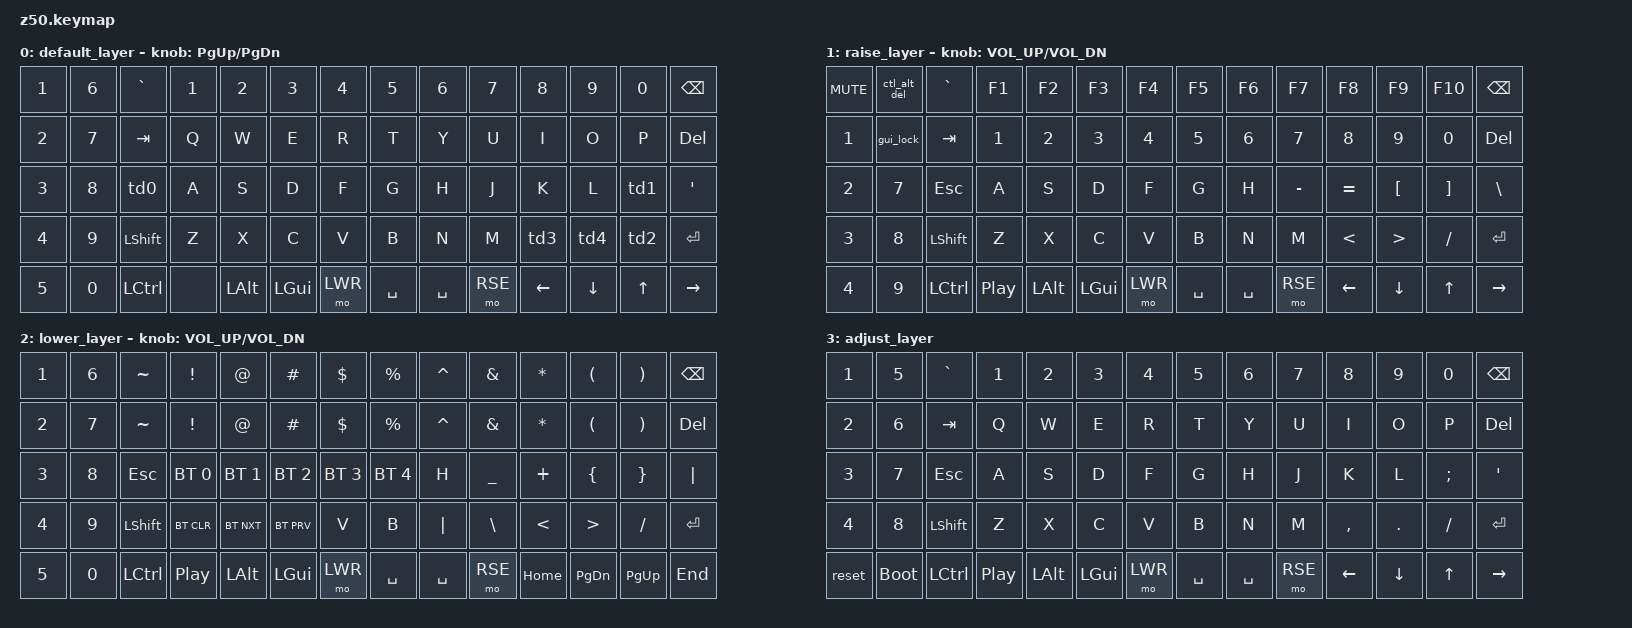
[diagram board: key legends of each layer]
/*
 * This is free and unencumbered software released into the public domain.
 *
 * Anyone is free to copy, modify, publish, use, compile, sell, or
 * distribute this software, either in source code form or as a compiled
 * binary, for any purpose, commercial or non-commercial, and by any
 * means.
 *
 * In jurisdictions that recognize copyright laws, the author or authors
 * of this software dedicate any and all copyright interest in the
 * software to the public domain. We make this dedication for the benefit
 * of the public at large and to the detriment of our heirs and
 * successors. We intend this dedication to be an overt act of
 * relinquishment in perpetuity of all present and future rights to this
 * software under copyright law.

 * THE SOFTWARE IS PROVIDED "AS IS", WITHOUT WARRANTY OF ANY KIND,
 * EXPRESS OR IMPLIED, INCLUDING BUT NOT LIMITED TO THE WARRANTIES OF
 * MERCHANTABILITY, FITNESS FOR A PARTICULAR PURPOSE AND NONINFRINGEMENT.
 * IN NO EVENT SHALL THE AUTHORS BE LIABLE FOR ANY CLAIM, DAMAGES OR
 * OTHER LIABILITY, WHETHER IN AN ACTION OF CONTRACT, TORT OR OTHERWISE,
 * ARISING FROM, OUT OF OR IN CONNECTION WITH THE SOFTWARE OR THE USE OR
 * OTHER DEALINGS IN THE SOFTWARE.
 * 
 * For more information, please refer to <http://unlicense.org/>
 *
 * Author: zedd (2022)
 */

#include <behaviors.dtsi>
#include <dt-bindings/zmk/keys.h>
#include <dt-bindings/zmk/bt.h>

#define DEFAULT 0
#define RSE 1
#define LWR 2
#define ADJ 3

/ {

    /* Conditional Layer (Ajust Layer) */ 
    conditional_layers {
        compatible = "zmk,conditional-layers";
        tri_layer {
            if-layers = <RSE LWR>;
            then-layer = <ADJ>;
        };
    };

    /* Tap-dance */
    behaviors {
        /*
         * Single tap: Escape
         * Double tap: Capslock
         */
        td0: tap_dance_cp_esc {
            compatible = "zmk,behavior-tap-dance";
            label = "ESC_CAPS";
            #binding-cells = <0>;
            tapping-term-ms = <200>;
            bindings = <&kp ESCAPE>, <&kp CAPSLOCK>;
        };
        /*
         * Single tap: Colon (:)
         * Double tap: Semicolon (;)
         */
        td1: tap_dance_col_scol {
            compatible = "zmk,behavior-tap-dance";
            label = "COLON_SEMICOLON";
            #binding-cells = <0>;
            tapping-term-ms = <200>;
            bindings = <&kp SEMICOLON>, <&kp COLON>;
        };

        /*
         * Single tap: Forward Slash (/)
         * Double tap: Question Mark (?)
         */
        td2: tap_dance_fslh_que {
            compatible = "zmk,behavior-tap-dance";
            label = "FSLASH_QUESTION";
            #binding-cells = <0>;
            tapping-term-ms = <200>;
            bindings = <&kp FSLH>, <&kp QMARK>;
        };

        /*
         * Single tap: comma (,)
         * Double tap: less than (<)
         */
        td3: tap_dance_com_lt {
            compatible = "zmk,behavior-tap-dance";
            label = "COMMA_LESSTHAN";
            #binding-cells = <0>;
            tapping-term-ms = <200>;
            bindings = <&kp COMMA>, <&kp LESS_THAN>;
        };
        
        /*
         * Single tap: dot (.)
         * Double tap: greater than (>)
         */
        td4: tap_dance_dot_gt {
            compatible = "zmk,behavior-tap-dance";
            label = "DOT_GREATERTHAN";
            #binding-cells = <0>;
            tapping-term-ms = <200>;
            bindings = <&kp DOT>, <&kp GREATER_THAN>;
        };
    };
    
    /* Macros */
    macros {
        
        /* Automate Windows login (CTRL+ALT+DEL) */
        ctl_alt_del: ctl_alt_del {
            label = "ZM_ctl_alt_del";
            compatible = "zmk,behavior-macro";
            #binding-cells = <0>;
            bindings = <&macro_press &kp LCTRL &kp LALT &kp DELETE>,
                <&macro_release &kp LCTRL &kp LALT &kp DELETE>;
        };

        /* Automate Windows Lock (Windows Key + L) */
        gui_lock: gui_lock {
            label = "ZM_gui_lock";
            compatible = "zmk,behavior-macro";
            #binding-cells = <0>;
            bindings = <&macro_press &kp LGUI>,
                <&macro_tap &kp L>,
                <&macro_release &kp LGUI>;
        };
    };

    /* Keymaps */
    keymap {
        compatible = "zmk,keymap";
        
        /* Default Layer */
        default_layer {
        // +------------------------------------------------------------------------------------------------------------------------------------------------+
        // |                                                                                                                                                |
        // |                                                                                                                                                |
        // |    +-----------+----------+     +---------+-------+-------+-------+-------+-------+     +-------+-------+-------+-------+-------+---------+    |
        // |    |    ENC    |   MC 5   |     |    `    |   1   |   2   |   3   |   4   |   5   |     |   6   |   7   |   8   |   9   |   0   |  BKSPC  |    |   
        // |    +-----------+----------+     +---------+-------+-------+-------+-------+-------+     +-------+-------+-------+-------+-------+---------+    |
        // |    |    MC 1   |   MC 6   |     |   TAB   |   Q   |   W   |   E   |   R   |   T   |     |   Y   |   U   |   I   |   O   |   P   |   DEL   |    |
        // |    +-----------+----------+     +----------+-------+-------+-------+-------+------+     +-------+-------+-------+-------+-------+---------+    |
        // |    |    MC 2   |   MC 7   |     |   ESC   |   A   |   S   |   D   |   F   |   G   |     |   H   |   J   |   K   |   L   |   ;   |    '    |    |  
        // |    +-----------+----------+     +---------+-------+-------+-------+-------+-------+     +-------+-------+-------+-------+-------+---------+    |
        // |    |    MC 3   |   MC 8   |     |  SHIFT  |   Z   |   X   |   C   |   V   |   B   |     |   N   |   M   |   ,   |   .   |   /   |  RETURN |    |
        // |    +-----------+----------+     +---------+-------+-------+-------+-------+-------+     +-------+-------+-------+-------+-------+---------+    |
        // |    |    MC 4   |   MC 9   |     |   CTRL  |  FN   | LALT  |  GUI  |  LWR  | SPACE |     | SPACE |  RSE  | LEFT  | DOWN  |   UP  |  RIGHT  |    |
        // |    +-----------+----------+     +---------+-------+-------+-------+-------+-------+     +-------+-------+-------+-------+-------+---------+    |
        // |                                                                                                                                                |
        // +------------------------------------------------------------------------------------------------------------------------------------------------+
        
        bindings = <
                &kp N1   &kp N6   &kp GRAVE   &kp N1  &kp N2   &kp N3   &kp N4    &kp N5    &kp N6    &kp N7   &kp N8    &kp N9   &kp N0    &kp BACKSPACE 
                &kp N2   &kp N7   &kp TAB     &kp Q   &kp W    &kp E    &kp R     &kp T     &kp Y     &kp U    &kp I     &kp O    &kp P     &kp DELETE
                &kp N3   &kp N8   &td0  &kp A   &kp S    &kp D    &kp F     &kp G     &kp H     &kp J    &kp K     &kp L    &td1  &kp SINGLE_QUOTE
                &kp N4   &kp N9   &kp LSHIFT  &kp Z   &kp X    &kp C    &kp V     &kp B     &kp N     &kp M    &td3 &td4  &td2  &kp RETURN
                &kp N5   &kp N0   &kp LCTRL   &none   &kp LALT &kp LGUI &mo LWR   &kp SPACE &kp SPACE &mo RSE  &kp LEFT  &kp DOWN &kp UP    &kp RIGHT
            >;
            sensor-bindings = <&inc_dec_kp PG_UP PG_DN>;
        };
        
        /* Raise (RSE) Layer*/
        raise_layer {

        /* ENC = C_MUTE
         * MC 5 = CTL+ALT+DEL -- login to windows 
         * MC 6 = LGUI+L -- lock windows desktop
         */

        // +-----------+----------+ +--------+-------+-------+-------+-------+-------+  +------+-------+---------+---------+--------+---------+
        // |    ENC    |   MC 5   | |   `    |   F1  |   F2  |   F3  |   F4  |   F5  |  |  F6  |   F7  |   F8    |   F9    |   F10  |  BKSPC  |   
        // +-----------+----------+ +--------+-------+-------+-------+-------+-------+  +------+-------+---------+---------+--------+---------+
        // |    MC 1   |   MC 6   | |  TAB   |   1   |   2   |   3   |   4   |   5   |  |  6   |   7   |   8     |   9     |    0   |   DEL   |
        // +-----------+----------+ +--------+-------+-------+-------+-------+-------+  +------+-------+---------+---------+--------+---------+
        // |    MC 2   |   MC 7   | |  ESC   |   A   |   S   |   D   |   F   |   G   |  |  H   |   -   |   =     |   [     |   ]    |    \    |       
        // +-----------+----------+ +--------+-------+-------+-------+-------+-------+  +------+-------+---------+---------+--------+---------+
        // |    MC 3   |   MC 8   | | SHIFT  |   Z   |   X   |   C   |   V   |   B   |  |  N   |   M   |   <     |   >     |   /    |  RETURN |   
        // +-----------+----------+ +--------+-------+-------+-------+-------+-------+  +------+-------+---------+---------+--------+---------+
        // |    MC 4   |   MC 9   | |  CTRL  |  FN   | LALT  |  GUI  |  LWR  | SPACE |  |SPACE |  RSE  | OUT_USB | OUT_BLE |  RALT  | OUT_TOG |    
        // +-----------+----------+ +--------+-------+-------+-------+-------+-------+  +------+-------+---------+---------+--------+---------+
            bindings = <
                &kp C_MUTE   &ctl_alt_del   &kp GRAVE   &kp F1  &kp F2   &kp F3   &kp F4    &kp F5    &kp F6    &kp F7   &kp F8    &kp F9   &kp F10    &kp BACKSPACE 
                &kp N1   &gui_lock   &kp TAB     &kp N1   &kp N2    &kp N3    &kp N4    &kp N5     &kp N6     &kp N7    &kp N8     &kp N9    &kp N0     &kp DELETE
                &kp N2   &kp N7   &kp ESCAPE  &kp A   &kp S    &kp D    &kp F     &kp G     &kp H     &kp MINUS    &kp EQUAL     &kp LBKT    &kp RBKT  &kp BSLH
                &kp N3   &kp N8   &kp LSHIFT  &kp Z   &kp X    &kp C    &kp V     &kp B     &kp N     &kp M    &kp LT &kp GT  &kp FSLH  &kp RETURN
                &kp N4   &kp N9   &kp LCTRL   &kp C_PP  &kp LALT &kp LGUI &mo LWR   &kp SPACE &kp SPACE &mo RSE  &kp LEFT  &kp DOWN &kp UP    &kp RIGHT
            >;
            sensor-bindings = <&inc_dec_kp C_VOL_UP C_VOL_DN>;
        };
        
        /* Lower (LWR) Layer*/
        lower_layer {

        // +-----------+----------+ +--------+--------+--------+--------+-------+-------+   +-------+-------+-------+-------+-------+---------+
        // |    ENC    |   MC 5   | |   ~    |    !   |   @    |    #   |   $   |   %   |   |   ^   |   &   |   *   |   (   |   )   |  BKSPC  |   
        // +-----------+----------+ +--------+--------+--------+--------+-------+-------+   +-------+-------+-------+-------+-------+---------+
        // |    MC 1   |   MC 6   | |  TAB   |    !   |   @    |    #   |   $   |   %   |   |   ^   |   &   |   *   |   (   |   )   |   DEL   |
        // +-----------+----------+ +--------+--------+--------+--------+-------+-------+   +-------+-------+-------+-------+-------+---------+
        // |    MC 2   |   MC 7   | |  ESC   |  BT 1  |  BT 2  |  BT 3  | BT 4  | BT 5  |   |   H   |   _   |   +   |   {   |   }   |    |    |       
        // +-----------+----------+ +--------+--------+--------+--------+-------+-------+   +-------+-------+-------+-------+-------+---------+
        // |    MC 3   |   MC 8   | | SHIFT  | BT_CLR | BT_NXT | BT_PRV |   V   |   B   |   |   |   |   \   |   <   |   >   |   /   |  RETURN |   
        // +-----------+----------+ +--------+--------+--------+--------+-------+-------+   +-------+-------+-------+-------+-------+---------+
        // |    MC 4   |   MC 9   | |  CTRL  |  FN    |  LALT  |  GUI   |  LWR  | SPACE |   | SPACE |  RSE  | HOME  | PGDWN | PGUP  |   END   |    
        // +-----------+----------+ +--------+--------+--------+--------+-------+-------+   +-------+-------+-------+-------+-------+---------+
            bindings = <
                &kp N1   &kp N6   &kp TILDE   &kp EXCL  &kp AT_SIGN   &kp HASH   &kp DOLLAR    &kp PERCENT    &kp CARET    &kp AMPS   &kp ASTRK    &kp LPAR   &kp RPAR    &kp BACKSPACE 
                &kp N2   &kp N7   &kp TILDE   &kp EXCL  &kp AT_SIGN   &kp HASH   &kp DOLLAR    &kp PERCENT    &kp CARET    &kp AMPS   &kp ASTRK    &kp LPAR   &kp RPAR    &kp DELETE 
                &kp N3   &kp N8   &kp ESCAPE  &bt BT_SEL 0 &bt BT_SEL 1  &bt BT_SEL 2  &bt BT_SEL 3  &bt BT_SEL 4  &kp H   &kp UNDER    &kp PLUS     &kp LBRC    &kp RBRC  &kp PIPE 
                &kp N4   &kp N9   &kp LSHIFT  &bt BT_CLR   &bt BT_NXT    &bt BT_PRV  &kp V  &kp B  &kp PIPE  &kp BACKSLASH    &kp LT &kp GT  &kp FSLH  &kp RETURN
                &kp N5   &kp N0   &kp LCTRL   &kp C_PP  &kp LALT &kp LGUI &mo LWR   &kp SPACE &kp SPACE &mo RSE  &kp HOME  &kp PG_DN &kp PG_UP    &kp END
            >;
            sensor-bindings = <&inc_dec_kp C_VOL_UP C_VOL_DN>;
        };

        /* Adjust Layer */
        adjust_layer {
        
        /* MC 4 = bootloader
         * MC 9 = reset
         */
        
        // +-----------+----------+ +---------+-------+-------+-------+-------+-------+ +-------+-------+-------+-------+-------+---------+
        // |    ENC    |   MC 5   | |    `    |   1   |   2   |   3   |   4   |   5   | |   6   |   7   |   8   |   9   |   0   |  BKSPC  |   
        // +-----------+----------+ +---------+-------+-------+-------+-------+-------+ +-------+-------+-------+-------+-------+---------+
        // |    MC 1   |   MC 6   | |   TAB   |   Q   |   W   |   E   |   R   |   T   | |   Y   |   U   |   I   |   O   |   P   |   DEL   |
        // +-----------+----------+ +---------+-------+-------+-------+-------+-------+ +-------+-------+-------+-------+-------+---------+
        // |    MC 2   |   MC 7   | |   ESC   |   A   |   S   |   D   |   F   |   G   | |   H   |   J   |   K   |   L   |   ;   |    '    |       
        // +-----------+----------+ +---------+-------+-------+-------+-------+-------+ +-------+-------+-------+-------+-------+---------+
        // |    MC 3   |   MC 8   | |  SHIFT  |   Z   |   X   |   C   |   V   |   B   | |   N   |   M   |   ,   |   .   |   /   |  RETURN |   
        // +-----------+----------+ +---------+-------+-------+-------+-------+-------+ +-------+-------+-------+-------+-------+---------+
        // |    MC 4   |   MC 9   | |   CTRL  |  FN   | LALT  |  GUI  |  LWR  | SPACE | | SPACE |  RSE  | LEFT  | DOWN  |   UP  |  RIGHT  |    
        // +-----------+----------+ +---------+-------+-------+-------+-------+-------+ +-------+-------+-------+-------+-------+---------+
            bindings = <
                &kp N1   &kp N5      &kp GRAVE   &kp N1  &kp N2   &kp N3   &kp N4    &kp N5    &kp N6    &kp N7   &kp N8    &kp N9   &kp N0    &kp BACKSPACE 
                &kp N2   &kp N6      &kp TAB     &kp Q   &kp W    &kp E    &kp R     &kp T     &kp Y     &kp U    &kp I     &kp O    &kp P     &kp DELETE
                &kp N3   &kp N7      &kp ESCAPE  &kp A   &kp S    &kp D    &kp F     &kp G     &kp H     &kp J    &kp K     &kp L    &kp SEMI  &kp SINGLE_QUOTE
                &kp N4   &kp N8      &kp LSHIFT  &kp Z   &kp X    &kp C    &kp V     &kp B     &kp N     &kp M    &kp COMMA &kp DOT  &kp FSLH  &kp RETURN
                &reset   &bootloader &kp LCTRL   &kp C_PP  &kp LALT &kp LGUI &mo LWR   &kp SPACE &kp SPACE &mo RSE  &kp LEFT  &kp DOWN &kp UP    &kp RIGHT
            >;
        };
 
    };
};
